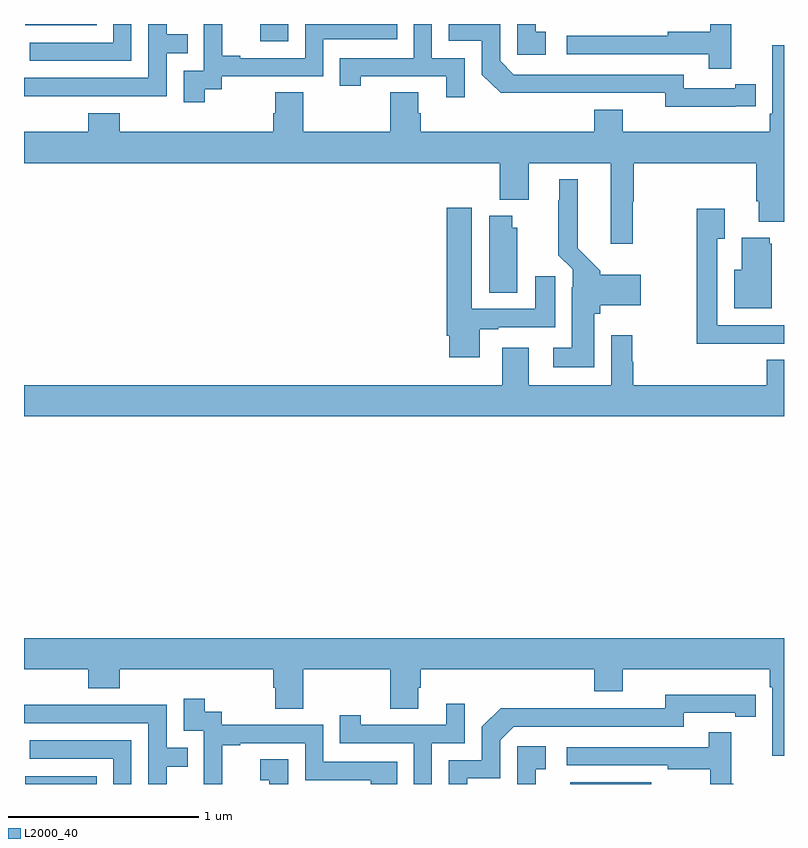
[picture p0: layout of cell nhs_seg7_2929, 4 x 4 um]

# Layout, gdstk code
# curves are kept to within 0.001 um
import gdstk
lib = gdstk.Library(unit=1e-6, precision=1e-09)
def R(c, l, rs):  # rectangles x0, y0, x1, y1
    for r in rs: c.add(gdstk.rectangle(r[:2], r[2:], *l))
def P(c, l, *ps):  # polygons
    for p in ps: c.add(gdstk.Polygon(p, *l))
L2000_40 = (2000, 40)

nhs_seg7_2929 = lib.new_cell('nhs_seg7_2929')
R(nhs_seg7_2929, L2000_40, [(299.006,1012,299.384,1012.042), (301.874,1012,302.302,1012.009), (300.243,1015.908,300.39,1016), (299.006,1015.994,299.384,1016)])
P(nhs_seg7_2929, L2000_40, [(299.95,1015.657),(300.042,1015.657),(300.042,1015.725),(300.576,1015.725),(300.576,1015.92),(300.965,1015.92),(300.965,1016),(300.48,1016),(300.48,1015.821),(300.139,1015.821),(300.139,1015.834),(300.044,1015.834),(300.044,1016),(299.945,1016),(299.945,1015.985),(299.946,1015.985),(299.946,1015.755),(299.841,1015.755),(299.841,1015.587),(299.95,1015.587)],
  [(299.565,1016),(299.469,1016),(299.469,1015.902),(299.031,1015.902),(299.031,1015.806),(299.565,1015.806)],
  [(301.747,1015.959),(301.694,1015.959),(301.694,1016),(301.596,1016),(301.596,1015.839),(301.747,1015.839)],
  [(299.255,1015.62),(299.751,1015.62),(299.751,1015.845),(299.861,1015.845),(299.861,1015.946),(299.751,1015.946),(299.751,1016),(299.655,1016),(299.655,1015.716),(299,1015.716),(299,1015.619),(299.255,1015.619)],
  [(302.744,1015.566),(302.852,1015.566),(302.852,1015.682),(302.744,1015.682),(302.744,1015.662),(302.472,1015.662),(302.472,1015.734),(301.578,1015.734),(301.506,1015.806),(301.506,1016),(301.236,1016),(301.236,1015.911),(301.41,1015.911),(301.41,1015.734),(301.508,1015.637),(302.376,1015.638),(302.376,1015.565)],
  [(302.723,1016),(302.613,1016),(302.613,1015.958),(302.389,1015.958),(302.389,1015.938),(301.857,1015.938),(301.857,1015.842),(302.605,1015.842),(302.605,1015.764),(302.723,1015.764)],
  [(301.32,1015.821),(301.146,1015.821),(301.146,1016),(301.05,1016),(301.05,1015.821),(300.661,1015.821),(300.661,1015.674),(300.772,1015.674),(300.772,1015.725),(301.223,1015.725),(301.223,1015.614),(301.32,1015.614)],
  [(302.205,1015.064),(302.21,1015.064),(302.21,1015.268),(302.855,1015.268),(302.855,1015.066),(302.867,1015.066),(302.867,1014.959),(303,1014.959),(303,1015.888),(302.937,1015.888),(302.937,1015.528),(302.924,1015.528),(302.924,1015.432),(302.152,1015.432),(302.152,1015.549),(302,1015.549),(302,1015.432),(301.088,1015.432),(301.088,1015.53),(301.075,1015.53),(301.075,1015.64),(300.928,1015.64),(300.928,1015.432),(300.471,1015.432),(300.471,1015.64),(300.323,1015.64),(300.323,1015.53),(300.311,1015.53),(300.311,1015.432),(299.504,1015.432),(299.504,1015.531),(299.339,1015.531),(299.339,1015.432),(299,1015.432),(299,1015.268),(301.505,1015.268),(301.505,1015.076),(301.657,1015.076),(301.657,1015.268),(302.087,1015.268),(302.087,1014.843),(302.205,1014.843)],
  [(302.002,1014.474),(302.033,1014.474),(302.033,1014.521),(302.245,1014.521),(302.245,1014.679),(302.033,1014.679),(302.033,1014.702),(301.915,1014.82),(301.915,1015.183),(301.817,1015.183),(301.817,1015.073),(301.813,1015.073),(301.813,1014.782),(301.887,1014.708),(301.887,1014.614),(301.883,1014.614),(301.883,1014.295),(301.785,1014.295),(301.785,1014.194),(302.002,1014.194)],
  [(301.399,1014.393),(301.495,1014.393),(301.495,1014.405),(301.795,1014.405),(301.795,1014.673),(301.691,1014.673),(301.691,1014.501),(301.357,1014.501),(301.357,1015.033),(301.226,1015.033),(301.226,1014.358),(301.238,1014.358),(301.238,1014.246),(301.399,1014.246)],
  [(302.825,1014.318),(303,1014.318),(303,1014.414),(302.649,1014.414),(302.649,1014.871),(302.689,1014.871),(302.689,1015.027),(302.541,1015.027),(302.541,1014.317),(302.825,1014.317)],
  [(301.597,1014.927),(301.57,1014.927),(301.57,1014.991),(301.448,1014.991),(301.448,1014.586),(301.597,1014.586)],
  [(302.935,1014.843),(302.924,1014.843),(302.924,1014.874),(302.777,1014.874),(302.777,1014.706),(302.738,1014.706),(302.738,1014.503),(302.935,1014.503)],
  [(303,1014.233),(302.909,1014.233),(302.909,1014.1),(302.207,1014.1),(302.207,1014.222),(302.2,1014.222),(302.2,1014.361),(302.091,1014.361),(302.091,1014.1),(301.657,1014.1),(301.657,1014.295),(301.517,1014.295),(301.517,1014.1),(299,1014.1),(299,1013.936),(303,1013.936)],
  [(303,1012.768),(299,1012.768),(299,1012.604),(299.339,1012.604),(299.339,1012.505),(299.504,1012.505),(299.504,1012.604),(300.311,1012.604),(300.311,1012.506),(300.323,1012.506),(300.323,1012.396),(300.471,1012.396),(300.471,1012.604),(300.928,1012.604),(300.928,1012.396),(301.075,1012.396),(301.075,1012.506),(301.088,1012.506),(301.088,1012.604),(302,1012.604),(302,1012.487),(302.152,1012.487),(302.152,1012.604),(302.924,1012.604),(302.924,1012.508),(302.937,1012.508),(302.937,1012.149),(303,1012.149)],
  [(301.333,1012.029),(301.506,1012.029),(301.506,1012.23),(301.578,1012.302),(302.472,1012.302),(302.472,1012.374),(302.744,1012.374),(302.744,1012.354),(302.852,1012.354),(302.852,1012.47),(302.376,1012.471),(302.376,1012.398),(301.916,1012.398),(301.916,1012.4),(301.508,1012.4),(301.41,1012.302),(301.41,1012.125),(301.236,1012.125),(301.236,1012),(301.333,1012)],
  [(300.044,1012.203),(300.139,1012.203),(300.139,1012.215),(300.48,1012.215),(300.48,1012.02),(300.825,1012.02),(300.825,1012),(300.965,1012),(300.965,1012.116),(300.576,1012.116),(300.576,1012.311),(300.042,1012.311),(300.042,1012.38),(299.95,1012.38),(299.95,1012.45),(299.841,1012.45),(299.841,1012.281),(299.946,1012.281),(299.946,1012.052),(299.945,1012.052),(299.945,1012),(300.044,1012)],
  [(301.146,1012.215),(301.32,1012.215),(301.32,1012.423),(301.223,1012.423),(301.223,1012.311),(300.772,1012.311),(300.772,1012.363),(300.661,1012.363),(300.661,1012.215),(301.05,1012.215),(301.05,1012),(301.146,1012)],
  [(299.751,1012.09),(299.861,1012.09),(299.861,1012.191),(299.751,1012.191),(299.751,1012.416),(299.255,1012.416),(299.255,1012.418),(299,1012.418),(299,1012.32),(299.655,1012.32),(299.655,1012),(299.751,1012)],
  [(302.734,1012.001),(302.723,1012.001),(302.723,1012.273),(302.605,1012.273),(302.605,1012.194),(301.857,1012.194),(301.857,1012.098),(302.389,1012.098),(302.389,1012.078),(302.613,1012.078),(302.613,1012),(302.734,1012)],
  [(299.565,1012.23),(299.031,1012.23),(299.031,1012.134),(299.469,1012.134),(299.469,1012),(299.565,1012)],
  [(301.694,1012.077),(301.747,1012.077),(301.747,1012.198),(301.596,1012.198),(301.596,1012),(301.694,1012)],
  [(300.39,1012.129),(300.243,1012.129),(300.243,1012.019),(300.292,1012.019),(300.292,1012),(300.39,1012)])

lib.write_gds('nhs_seg7_2929.gds')
